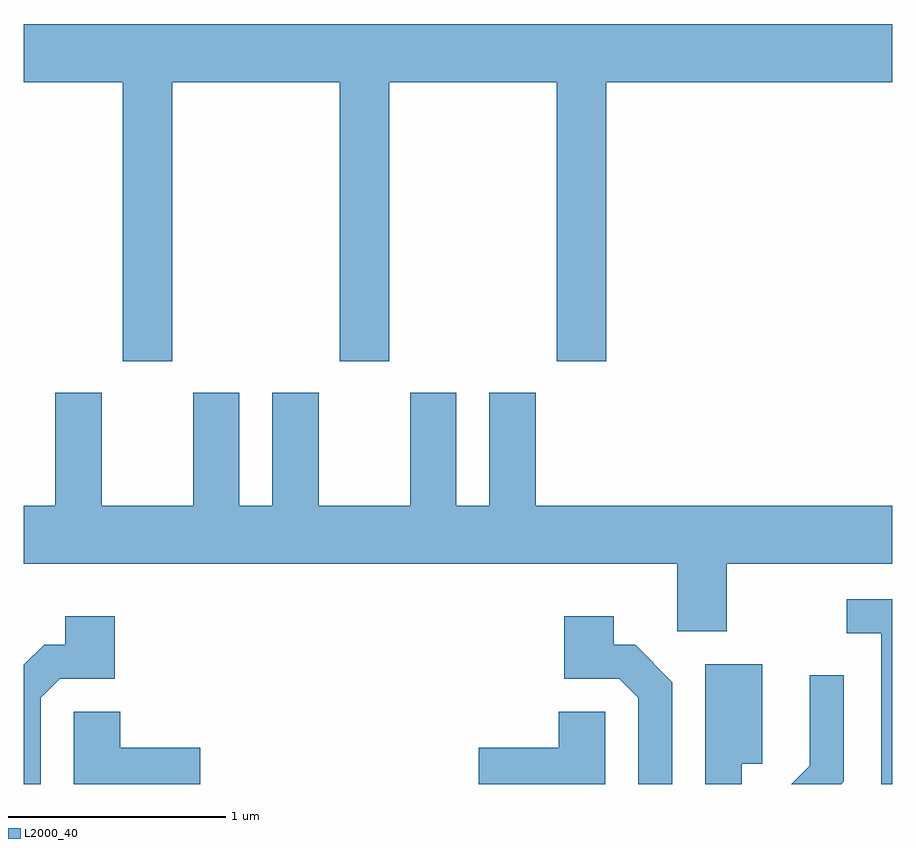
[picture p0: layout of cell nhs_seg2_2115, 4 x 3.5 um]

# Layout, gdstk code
import gdstk
lib = gdstk.Library(unit=1e-6, precision=1e-09)
def P(c, l, *ps):  # polygons
    for p in ps: c.add(gdstk.Polygon(p, *l))
L2000_40 = (2000, 40)

nhs_seg2_2115 = lib.new_cell('nhs_seg2_2115')
P(nhs_seg2_2115, L2000_40, [(248.294,995.036),(249.066,995.036),(249.066,993.751),(249.294,993.751),(249.294,995.036),(250.066,995.036),(250.066,993.751),(250.294,993.751),(250.294,995.036),(251.611,995.036),(251.611,995.304),(247.611,995.304),(247.611,995.036),(248.066,995.036),(248.066,993.751),(248.294,993.751)],
  [(250.849,992.816),(251.611,992.816),(251.611,993.084),(249.969,993.084),(249.969,993.604),(249.756,993.604),(249.756,993.084),(249.604,993.084),(249.604,993.604),(249.391,993.604),(249.391,993.084),(248.969,993.084),(248.969,993.604),(248.756,993.604),(248.756,993.084),(248.604,993.084),(248.604,993.604),(248.391,993.604),(248.391,993.084),(247.969,993.084),(247.969,993.604),(247.756,993.604),(247.756,993.084),(247.611,993.084),(247.611,992.816),(250.621,992.816),(250.621,992.506),(250.849,992.506)],
  [(251.611,992.654),(251.403,992.654),(251.403,992.496),(251.561,992.496),(251.561,991.802),(251.611,991.802)],
  [(247.689,992.199),(247.777,992.286),(248.029,992.286),(248.029,992.574),(247.801,992.574),(247.801,992.444),(247.704,992.444),(247.611,992.352),(247.611,991.802),(247.689,991.802)],
  [(250.599,992.272),(250.427,992.444),(250.329,992.444),(250.329,992.574),(250.101,992.574),(250.101,992.286),(250.354,992.286),(250.441,992.199),(250.441,991.802),(250.599,991.802)],
  [(250.919,991.896),(251.014,991.896),(251.014,992.354),(250.751,992.354),(250.751,991.802),(250.919,991.802)],
  [(251.389,991.814),(251.389,992.303),(251.231,992.303),(251.231,991.887),(251.146,991.802),(251.377,991.802)],
  [(250.289,992.134),(250.076,992.134),(250.076,991.969),(249.706,991.969),(249.706,991.802),(250.289,991.802)],
  [(248.424,991.969),(248.054,991.969),(248.054,992.134),(247.841,992.134),(247.841,991.802),(248.424,991.802)])

lib.write_gds('nhs_seg2_2115.gds')
